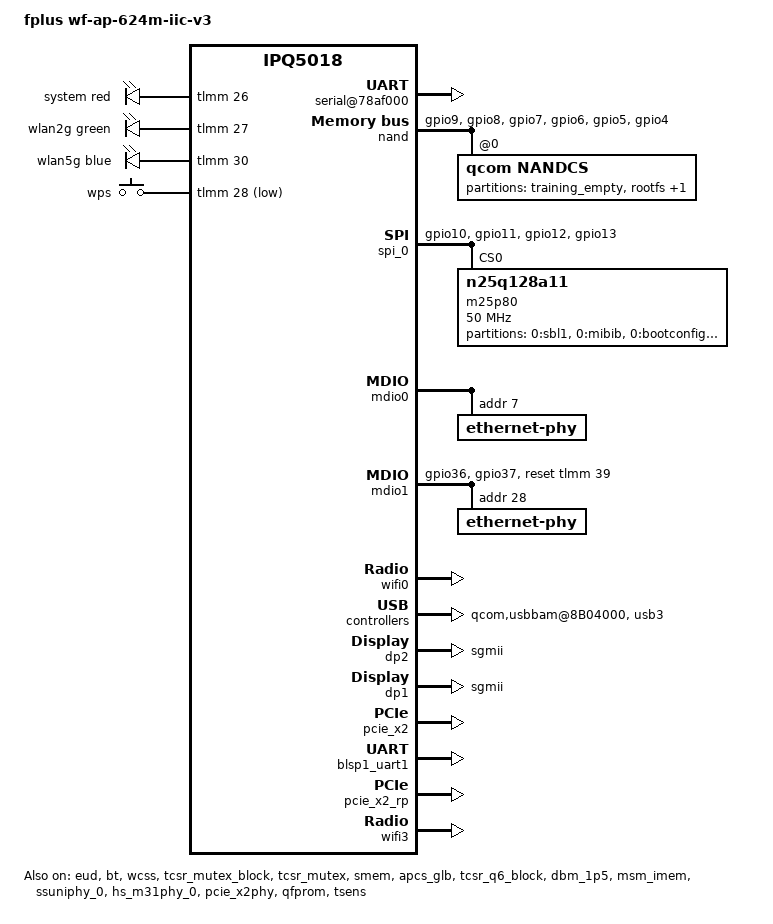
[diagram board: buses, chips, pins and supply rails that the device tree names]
/dts-v1/;
/* Copyright (c) 2018-2020, The Linux Foundation. All rights reserved.
 *
 * Permission to use, copy, modify, and/or distribute this software for any
 * purpose with or without fee is hereby granted, provided that the above
 * copyright notice and this permission notice appear in all copies.
 *
 * THE SOFTWARE IS PROVIDED "AS IS" AND THE AUTHOR DISCLAIMS ALL WARRANTIES
 * WITH REGARD TO THIS SOFTWARE INCLUDING ALL IMPLIED WARRANTIES OF
 * MERCHANTABILITY AND FITNESS. IN NO EVENT SHALL THE AUTHOR BE LIABLE FOR
 * ANY SPECIAL, DIRECT, INDIRECT, OR CONSEQUENTIAL DAMAGES OR ANY DAMAGES
 * WHATSOEVER RESULTING FROM LOSS OF USE, DATA OR PROFITS, WHETHER IN AN
 * ACTION OF CONTRACT, NEGLIGENCE OR OTHER TORTIOUS ACTION, ARISING OUT OF
 * OR IN CONNECTION WITH THE USE OR PERFORMANCE OF THIS SOFTWARE.
 */
#include "qcom-ipq5018.dtsi"

#ifndef LED_COLOR_ID_RED
#define LED_COLOR_ID_RED	1
#endif
#ifndef LED_COLOR_ID_GREEN
#define LED_COLOR_ID_GREEN	2
#endif
#ifndef LED_COLOR_ID_BLUE
#define LED_COLOR_ID_BLUE	3
#endif

#ifndef LED_FUNCTION_WLAN
#define LED_FUNCTION_WLAN "wlan"
#endif

#ifndef LED_FUNCTION_STATUS
#define LED_FUNCTION_STATUS "status"
#endif

/ {
	#address-cells = <0x2>;
	#size-cells = <0x2>;
	model = "fplus wf-ap-624m-iic-v3";
	compatible = "fplus,wf-ap-624m-iic-v3", "qcom,ipq5018-mp03.1", "qcom,ipq5018";
	interrupt-parent = <&intc>;
	aliases {
		led-boot = &led_system;
		led-failsafe = &led_system;
		led-running = &led_system;
		led-upgrade = &led_system;
		sdhc1 = &sdhc_1; /* SDC1 eMMC slot */
		serial0 = &blsp1_uart1;
		serial1 = &blsp1_uart2;
		ethernet0 = "/soc/dp1";
		ethernet1 = "/soc/dp2";
	};

	chosen {
		bootargs = "console=ttyMSM0,115200,n8 rw init=/init";
		bootargs-append = " root=/dev/ubiblock0_1 swiotlb=1 coherent_pool=2M";
		stdout-path = "serial0";
	};

	leds {
		compatible = "gpio-leds";
		led_system: system {
			color = <LED_COLOR_ID_RED>;
			label = "system";
			function = LED_FUNCTION_STATUS;
			gpios = <&tlmm 26 GPIO_ACTIVE_HIGH>;
		};

		wlan2g {
			color = <LED_COLOR_ID_GREEN>;
			label = "wlan2g";
			function = LED_FUNCTION_WLAN;
			gpios = <&tlmm 27 GPIO_ACTIVE_HIGH>;
		};

		wlan5g {
			color = <LED_COLOR_ID_BLUE>;
			label = "wlan5g";
			function = LED_FUNCTION_WLAN;
			gpios = <&tlmm 30 GPIO_ACTIVE_HIGH>;
		};
	};

	reserved-memory {
	/*                      512 MB Profile
	 * +=========+==============+========================+
	 * |        |              |                         |
	 * | Region | Start Offset |          Size           |
	 * |        |              |                         |
	 * +--------+--------------+-------------------------+
	 * |        |              |                         |
	 * |        |              |                         |
	 * |  NSS   |  0x40000000  |          16MB           |
	 * |        |              |                         |
	 * |        |              |                         |
	 * +--------+--------------+-------------------------+
	 * |        |              |                         |
	 * |        |              |                         |
	 * |        |              |                         |
	 * |        |              |                         |
	 * | Linux  |  0x41000000  | Depends on total memory |
	 * |        |              |                         |
	 * |        |              |                         |
	 * |        |              |                         |
	 * |        |              |                         |
	 * +--------+--------------+-------------------------+
	 * |        |              |                         |
	 * | uboot  |  0x4A600000  |           4MB           |
	 * |        |              |                         |
	 * +--------+--------------+-------------------------+
	 * |  SBL   |  0x4AA00000  |           1MB           |
	 * +--------+--------------+-------------------------+
	 * |  smem  |  0x4AB00000  |           1MB           |
	 * +--------+--------------+-------------------------+
	 * |        |              |                         |
	 * |   TZ   |  0x4AC00000  |           4MB           |
	 * |        |              |                         |
	 * +--------+--------------+-------------------------+
	 * |        |              |                         |
	 * |        |              |                         |
	 * |        |              |                         |
	 * |   Q6   |  0x4B000000  |          24MB           |
	 * |        |              |                         |
	 * |        |              |                         |
	 * +--------+--------------+-------------------------+
	 * | M3 Dump|  0x4C800000  |           1MB           |
	 * +--------+--------------+-------------------------+
	 * |  QDSS  |  0x4C900000  |           1MB           |
	 * +--------+--------------+-------------------------+
	 * | caldb  |  0x4CA00000  |           2MB           |
	 * +--------+--------------+-------------------------+
	 * |        |              |                         |
	 * |QCN9000 |  0x4CC00000  |          30MB           |
	 * |        |              |                         |
	 * +--------+--------------+-------------------------+
	 * |        |              |                         |
	 * |  MHI1  |  0x4EA00000  |          16MB           |
	 * |        |              |                         |
	 * +--------+--------------+-------------------------+
	 * |                                                 |
	 * |      Rest of the memory for Linux               |
	 * |                                                 |
	 * +=================================================+
	 */
		q6_region: wcnss@4b000000 {
			no-map;
			reg = <0x0 0x4b000000 0x0 0x01800000>;
		};
		m3_dump@4c800000 {
			no-map;
			reg = <0x0 0x4c800000 0x0 0x100000>;
		};
		q6_etr_region:q6_etr_dump@4c900000 {
			no-map;
			reg = <0x0 0x4c900000 0x0 0x100000>;
		};
		q6_caldb_region:q6_caldb_region@4ca00000 {
			no-map;
			reg = <0x0 0x4ca00000 0x0 0x200000>;
		};
		qcn9000_pcie0@4cc00000 {
			no-map;
			reg = <0x0 0x4CC00000 0x0 0x01E00000>;
		};
		mhi_region1: dma_pool1@4ea00000 {
			compatible = "shared-dma-pool";
			no-map;
			reg = <0x0 0x4ea00000 0x0 0x01000000>;
		};
	};
	soc {
		serial@78af000 {
			status = "ok";
		};
		blsp1_uart2: serial@78b0000 {
			pinctrl-0 = <&blsp1_uart_pins>;
			pinctrl-names = "default";
		};
		qpic_bam: dma@7984000{
			status = "ok";
		};
		nand: qpic-nand@79b0000 {
			pinctrl-0 = <&qspi_nand_pins>;
			pinctrl-names = "default";
			compatible = "qcom,ebi2-nandc-bam-v2.1.1";
			status = "ok";

			nandcs@0 {
				compatible = "qcom,nandcs";
				reg = <0>;
				#address-cells = <1>;
				#size-cells = <1>;

				nand-ecc-strength = <4>;
				nand-ecc-step-size = <512>;
				nand-bus-width = <8>;

				partitions {
					compatible = "fixed-partitions";
					#address-cells = <1>;
					#size-cells = <1>;

					partition@0 {
						label = "training_empty";
						reg = <0x00000000 0x00080000>;
					};

					partition@1 {
						label = "rootfs";
						reg = <0x00080000 0x03e00000>;
					};

					partition@2 {
						label = "rootfs_1";
						reg = <0x03e80000 0x03e00000>;
					};
				};
			};
		};
		spi_0: spi@78b5000 { /* BLSP1 QUP0 */
			pinctrl-0 = <&blsp0_spi_pins>;
			pinctrl-names = "default";
			cs-select = <0>;
			status = "ok";
			m25p80@0 {
				#address-cells = <1>;
				#size-cells = <1>;
				reg = <0>;
				compatible = "n25q128a11";
				linux,modalias = "m25p80", "n25q128a11";
				spi-max-frequency = <50000000>;
				use-default-sizes;

				partitions {
					compatible = "fixed-partitions";

					partition@0 {
						reg = <0x00000000 0x00030000>;
						label = "0:sbl1";
					};

					partition@1 {
						reg = <0x00030000 0x00010000>;
						label = "0:mibib";
					};

					partition@2 {
						reg = <0x00040000 0x00010000>;
						label = "0:bootconfig";
					};

					partition@3 {
						reg = <0x00050000 0x00010000>;
						label = "0:bootconfig1";
					};

					partition@4 {
						reg = <0x00060000 0x000a0000>;
						label = "0:qsee";
					};

					partition@5 {
						reg = <0x00100000 0x000a0000>;
						label = "0:qsee_1";
					};

					partition@6 {
						reg = <0x001a0000 0x00010000>;
						label = "0:devcfg";
					};

					partition@7 {
						reg = <0x001b0000 0x00010000>;
						label = "0:devcfg_1";
					};

					partition@8 {
						reg = <0x001c0000 0x00010000>;
						label = "0:cdt";
					};

					partition@9 {
						reg = <0x001d0000 0x00010000>;
						label = "0:cdt_1";
					};

					partition@10 {
						reg = <0x001e0000 0x00010000>;
						label = "0:appsblenv";
					};

					partition@11 {
						reg = <0x001f0000 0x000a0000>;
						label = "0:appsbl";
					};

					partition@12 {
						reg = <0x00290000 0x000a0000>;
						label = "0:appsbl_1";
					};

					partition@13 {
						reg = <0x00330000 0x00070000>;
						label = "0:art";
					};
				};
			};
		};
		mdio0: mdio@88000 {
			compatible = "qcom,qca-mdio", "qcom,ipq40xx-mdio", "qcom,ipq5018-mdio";
			status = "ok";
			resets = <&gcc GCC_GEPHY_MDC_SW_ARES>;
			reset-names = "gephy_mdc_rst";
			ethernet-phy@0 {
				reg = <7>;
			};
		};
		mdio1: mdio@90000 {
			compatible = "qcom,qca-mdio";
			status = "ok";
			pinctrl-0 = <&mdio1_pins>;
			pinctrl-names = "default";
			reset-gpios = <&tlmm 39 GPIO_ACTIVE_HIGH>;
			phy-reset-gpio = <&tlmm 39 GPIO_ACTIVE_HIGH>;
			ethernet-phy@0 {
				reg = <28>;
			};
		};
		ess-instance {
			num_devices = <1>;
			ess-switch@0x39c00000 {
				compatible = "qcom,ess-switch-ipq50xx";
				switch_access_mode = "local bus";
				switch_mac_mode = <0xf>; /* mac mode for uniphy instance*/
				cmnblk_clk = "internal_96MHz"; /* cmnblk clk*/
				qcom,port_phyinfo {
					port@0 {
						port_id = <1>;
						phy_address = <7>;
						mdiobus = <&mdio0>;
					};
					port@1 {
						port_id = <2>;
						phy_address = <28>;
						mdiobus = <&mdio1>;
						port_mac_sel = "QGMAC_PORT";
					};
				};
				led_source@0 {
					source = <0>;
					mode = "normal";
					speed = "all";
					blink_en = "enable";
					active = "high";
				};
			};
		};
		wifi0: wifi@c000000 {
			qcom,bdf-addr = <0x4BA00000 0x4BA00000 0x4BA00000
						0x0 0x0>;
			qcom,caldb-addr = <0x4CA00000 0x4CA00000 0x4CA00000
						0x0 0x0>;
			qcom,caldb-size = <0x200000>;
			status = "ok";
		};
		ess-uniphy@98000 {
			compatible = "qcom,ess-uniphy";
			reg = <0x98000 0x800>;
			uniphy_access_mode = "local bus";
		};
		qcom,sps {
			status = "ok";
		};
		qcom,usbbam@8B04000 {
			status = "ok";
		};
		qcom,diag@0 {
			status = "ok";
		};
		dp2 {
			device_type = "network";
			compatible = "qcom,nss-dp";
			clocks = <&gcc GCC_SNOC_GMAC0_AXI_CLK>;
			clock-names = "nss-snoc-gmac-axi-clk";
			qcom,id = <1>;
			reg = <0x39C00000 0x10000>;
			interrupts = <GIC_SPI 101 IRQ_TYPE_LEVEL_HIGH>;
			qcom,mactype = <2>;
			qcom,link-poll = <1>;
			qcom,phy-mdio-addr = <7>;
			mdio-bus = <&mdio0>;
			local-mac-address = [000000000000];
			phy-mode = "sgmii";
			label = "lan";
		};
		dp1 {
			device_type = "network";
			compatible = "qcom,nss-dp";
			clocks = <&gcc GCC_SNOC_GMAC1_AXI_CLK>;
			clock-names = "nss-snoc-gmac-axi-clk";
			qcom,id = <2>;
			reg = <0x39D00000 0x10000>;
			interrupts = <GIC_SPI 109 IRQ_TYPE_LEVEL_HIGH>;
			qcom,mactype = <2>;
			qcom,link-poll = <1>;
			qcom,phy-mdio-addr = <28>;
			mdio-bus = <&mdio1>;
			local-mac-address = [000000000000];
			phy-mode = "sgmii";
			label = "wan";
		};
		rpm_etm0 {
			status = "disabled";
		};
		lpass: lpass@0xA000000{
			status = "disabled";
		};
		pcm: pcm@0xA3C0000{
			pinctrl-0 = <&audio_pins>;
			pinctrl-names = "default";
			status = "disabled";
		};
		pcm_lb: pcm_lb@0 {
			status = "disabled";
		};
	};
	thermal-zones {
		status = "ok";
	};
};
&tlmm {
	pinctrl-0 = <&blsp0_uart_pins &phy_led_pins>;
	pinctrl-names = "default";
	blsp0_uart_pins: blsp0_uart_pins {
		blsp0_uart_rx_tx {
			pins = "gpio20", "gpio21";
			function = "blsp0_uart0";
			drive-strength = <8>;
			bias-pull-up;
		};
	};
	blsp1_uart_pins: blsp1_uart_pins {
		blsp1_uart_rx_tx {
			pins = "gpio23", "gpio25", "gpio24", "gpio26";
			function = "blsp1_uart2";
			drive-strength = <8>;
			bias-pull-up;
		};
	};
	blsp0_spi_pins: blsp0_spi_pins {
		mux {
			pins = "gpio10", "gpio11", "gpio12", "gpio13";
			function = "blsp0_spi";
			drive-strength = <8>;
			bias-disable;
		};
	};
	qspi_nand_pins: qspi_nand_pins {
		qspi_clock {
				pins = "gpio9";
				function = "qspi_clk";
				drive-strength = <8>;
				bias-disable;
			};
		qspi_cs {
				pins = "gpio8";
				function = "qspi_cs";
				drive-strength = <8>;
				bias-pull-up;
			};
		qspi_data_0 {
				pins = "gpio7";
				function = "qspi0";
				drive-strength = <8>;
				bias-disable;
			};
		qspi_data_1 {
				pins = "gpio6";
				function = "qspi1";
				drive-strength = <8>;
				bias-disable;
			};
		qspi_data_2 {
				pins = "gpio5";
				function = "qspi2";
				drive-strength = <8>;
				bias-disable;
			};
		qspi_data_3 {
				pins = "gpio4";
				function = "qspi3";
				drive-strength = <8>;
				bias-disable;
			};
	};

	mdio1_pins: mdio_pinmux {
		mux_0 {
			pins = "gpio36";
			function = "mdc";
			drive-strength = <8>;
			bias-pull-up;
		};
		mux_1 {
			pins = "gpio37";
			function = "mdio";
			drive-strength = <8>;
			bias-pull-up;
		};
	};

	phy_led_pins: phy_led_pins {
		gephy_led_pin {
			pins = "gpio46";
			function = "led0";
			drive-strength = <8>;
			bias-pull-down;
		};
	};
	i2c_pins: i2c_pins {
		i2c_scl {
			pins = "gpio25";
			function = "blsp2_i2c1";
			drive-strength = <8>;
			bias-disable;
		};
		i2c_sda {
			pins = "gpio26";
			function = "blsp2_i2c1";
			drive-strength = <8>;
			bias-disable;
		};
	};
	button_pins: button_pins {
		wps_button {
			pins = "gpio38";
			function = "gpio";
			drive-strength = <8>;
			bias-pull-up;
		};
	};
	audio_pins: audio_pinmux {
		mux_1 {
			pins = "gpio24";
			function = "audio_rxbclk";
			drive-strength = <8>;
			bias-pull-down;
		};
		mux_2 {
			pins = "gpio25";
			function = "audio_rxfsync";
			drive-strength = <8>;
			bias-pull-down;
		};
		mux_3 {
			pins = "gpio26";
			function = "audio_rxd";
			drive-strength = <8>;
			bias-pull-down;
		};
		mux_4 {
			pins = "gpio27";
			function = "audio_txmclk";
			drive-strength = <8>;
			bias-pull-down;
		};
		mux_5 {
			pins = "gpio28";
			function = "audio_txbclk";
			drive-strength = <8>;
			bias-pull-down;
		};
		mux_6 {
			pins = "gpio29";
			function = "audio_txfsync";
			drive-strength = <8>;
			bias-pull-down;
		};
		mux_7 {
			pins = "gpio30";
			function = "audio_txd";
			drive-strength = <8>;
			bias-pull-down;
		};
	};
};
&soc {
	gpio_keys {
		compatible = "gpio-keys";
		pinctrl-0 = <&button_pins>;
		pinctrl-names = "default";
		button@1 {
			label = "wps";
			linux,code = <KEY_WPS_BUTTON>;
			gpios = <&tlmm 28 GPIO_ACTIVE_LOW>;
			linux,input-type = <1>;
			debounce-interval = <60>;
		};
	};
};
&usb3 {
	qcom,multiplexed-phy;
	qcom,phy-mux-regs = <&tcsr_q6_block 0x2540>;
	device-power-gpio = <&tlmm 24 1>;
	status = "ok";
};
&eud {
	status = "ok";
};
&pcie_x1 {
	status = "disabled";
	perst-gpio = <&tlmm 18 1>;
};
&pcie_x2 {
	status = "ok";
	perst-gpio = <&tlmm 15 1>;
};
&bt {
	status = "ok";
};
&wcss {
	status = "ok";
};
&q6v5_wcss {
	status = "disabled";
};
&q6v5_m3 {
	status = "disabled";
};
&tcsr_mutex_block {
	status = "ok";
};
&tcsr_mutex {
	status = "ok";
};
&smem {
	status = "ok";
};
&apcs_glb {
	status = "ok";
};
&tcsr_q6_block {
	status = "ok";
};
&qcom_q6v5_wcss {
	#ifdef __IPQ_MEM_PROFILE_256_MB__
		memory-region = <&q6_region>, <&q6_etr_region>;
	#else
		memory-region = <&q6_region>, <&q6_etr_region>,
				<&q6_caldb_region>;
	#endif
	/* IPQ5018 */
	q6v5_wcss_userpd1 {
		m3_firmware = "IPQ5018/m3_fw.mdt";
		interrupts-extended = <&wcss_smp2p_in 8 0>,
			<&wcss_smp2p_in 9 0>,
			<&wcss_smp2p_in 12 0>,
			<&wcss_smp2p_in 11 0>;
		interrupt-names ="fatal",
			"ready",
			"spawn_ack",
			"stop-ack";
		qcom,smem-states = <&wcss_smp2p_out 8>,
			<&wcss_smp2p_out 9>,
			<&wcss_smp2p_out 10>;
		qcom,smem-state-names = "shutdown",
			"stop",
			"spawn";
		qca,asid = <1>;
		qca,auto-restart;
		qca,int_radio;
	};
};
&i2c_0 {
	pinctrl-0 = <&i2c_pins>;
	pinctrl-names = "default";
	status = "disabled";
};
&dbm_1p5 {
	status = "ok";
};
&msm_imem {
	status = "ok";
};
&blsp1_uart1 {
	status = "ok";
};
&ssuniphy_0 {
	status = "ok";
};
&hs_m31phy_0 {
	status = "ok";
};
&pcie_x1phy {
	status = "disabled";
};
&pcie_x2phy {
	status = "ok";
};
&pcie_x1_rp {
	status = "disabled";
	mhi_0: qcom,mhi@0 {
		reg = <0 0 0 0 0 >;
	};
};
&pcie_x2_rp {
	status = "ok";
	mhi_1: qcom,mhi@1 {
		reg = <0 0 0 0 0 >;
		qrtr_instance_id = <0x20>;
		#address-cells = <0x2>;
		#size-cells = <0x2>;
		memory-region = <&mhi_region1>;
#if !defined(__CNSS2__)
		base-addr = <0x4CC00000>;
		m3-dump-addr = <0x4E000000>;
		etr-addr = <0x4E100000>;
		qcom,caldb-addr = <0x4E200000>;
		qcom,tgt-mem-mode = <0x1>;
		mhi,max-channels = <30>;
		mhi,timeout = <10000>;
#endif
	};
};
&wifi0 {
	/* IPQ5018 */
	qcom,board_id = <0x24>;
	status = "ok";
};
&wifi3 {
	/* QCN9000 5G */
	board_id = <0xa0>;
	status = "ok";
};
&qfprom {
	status = "ok";
};
&tsens {
	status = "ok";
};

